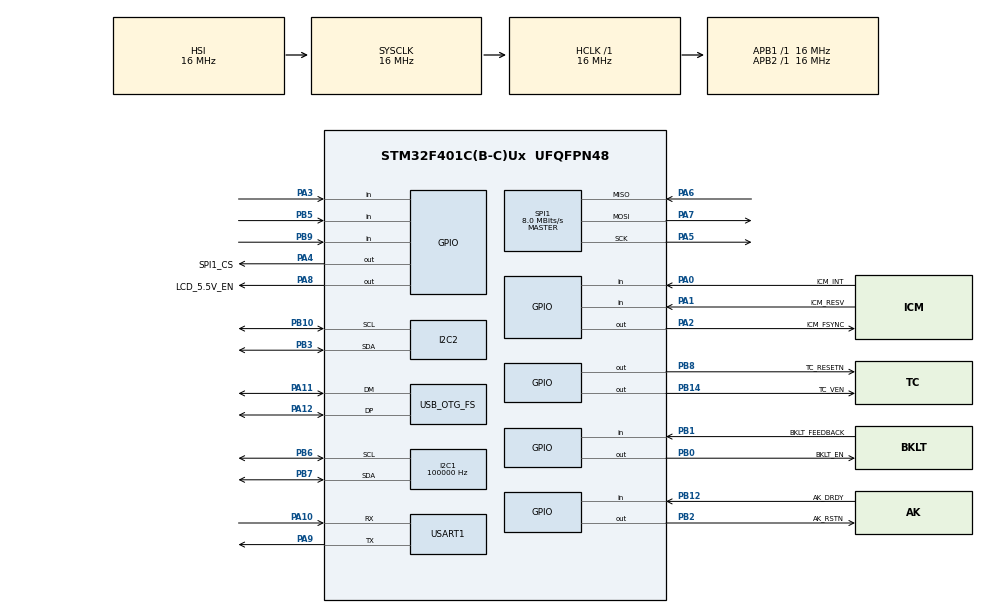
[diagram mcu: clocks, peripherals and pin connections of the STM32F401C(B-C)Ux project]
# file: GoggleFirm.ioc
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Mcu.Family=STM32F4
PA6.Mode=Full_Duplex_Master
USB_DEVICE.CLASS_NAME_FS=CUSTOM_HID
RCC.CortexFreq_Value=16000000
SPI1.VirtualType=VM_MASTER
PB10.Mode=I2C
PB14.GPIO_Label=TC_VEN
VP_USB_DEVICE_VS_USB_DEVICE_CUSTOM_HID_FS.Mode=CUSTOM_HID_FS
PA11.Mode=Device_Only
PB0.GPIO_Label=BKLT_EN
ProjectManager.StackSize=0x400
PA12.Signal=USB_OTG_FS_DP
PH0\ -\ OSC_IN.Signal=RCC_OSC_IN
I2C1.ClockSpeed=100000
PB0.PinState=GPIO_PIN_RESET
SPI1.Direction=SPI_DIRECTION_2LINES
PB6.Signal=I2C1_SCL
PB6.Mode=I2C
SPI1.CalculateBaudRate=8.0 MBits/s
RCC.AHBFreq_Value=16000000
RCC.HSE_VALUE=12000000
PB2.Signal=GPIO_Output
PB3.Mode=I2C
PB12.GPIO_Label=AK_DRDY
USB_DEVICE.USBD_SELF_POWERED=0
PA14.Mode=Serial_Wire
PB1.GPIO_Label=BKLT_FEEDBACK
PB8.PinState=GPIO_PIN_RESET
PB7.Signal=I2C1_SDA
PA8.Signal=GPIO_Output
Mcu.Package=UFQFPN48
PB9.Signal=GPIO_Input
PB1.Signal=GPIO_Input
PA6.Signal=SPI1_MISO
PA2.GPIO_ModeDefaultOutputPP=GPIO_MODE_OUTPUT_PP
NVIC.OTG_FS_IRQn=true\:0\:0\:false\:false\:true\:false\:true
PA2.GPIO_Label=ICM_FSYNC
PA10.Signal=USART1_RX
USB_OTG_FS.VirtualMode=Device_Only
PB8.GPIO_ModeDefaultOutputPP=GPIO_MODE_OUTPUT_PP
PB0.GPIO_ModeDefaultOutputPP=GPIO_MODE_OUTPUT_PP
USB_DEVICE.USBD_CUSTOMHID_OUTREPORT_BUF_SIZE=28
PB2.GPIO_ModeDefaultOutputPP=GPIO_MODE_OUTPUT_PP
PA4.GPIO_Label=SPI1_CS
PA3.Signal=GPIO_Input
PA5.Mode=Full_Duplex_Master
PA7.Mode=Full_Duplex_Master
PA10.Mode=Asynchronous
USB_DEVICE.USBD_CUSTOM_HID_REPORT_DESC_SIZE=34
USB_DEVICE.VirtualModeFS=Custom_Hid_FS
PH1\ -\ OSC_OUT.Mode=HSE-External-Oscillator
PA0-WKUP.GPIO_Label=ICM_INT
PA0-WKUP.Signal=GPIO_Input
PA13.Signal=SYS_JTMS-SWDIO
PB8.GPIO_Label=TC_RESETN
PA9.Mode=Asynchronous
PH0\ -\ OSC_IN.Mode=HSE-External-Oscillator
PA8.GPIO_Label=LCD_5.5V_EN
PB14.PinState=GPIO_PIN_SET
PA4.PinState=GPIO_PIN_SET
ProjectManager.TargetToolchain=STM32CubeIDE
PB14.GPIO_Speed=GPIO_SPEED_FREQ_LOW
I2C1.I2C_Mode=I2C_Standard
PA9.Signal=USART1_TX
RCC.LSE_VALUE=32768
PB14.GPIO_ModeDefaultOutputPP=GPIO_MODE_OUTPUT_PP
PA1.Signal=GPIO_Input
PB10.Signal=I2C2_SCL
PB14.Signal=GPIO_Output
PA5.Signal=SPI1_SCK
PH1\ -\ OSC_OUT.Signal=RCC_OSC_OUT
board=custom
RCC.VCOOutputFreq_Value=144000000
RCC.APB2Freq_Value=16000000
SPI1.Mode=SPI_MODE_MASTER
PA1.GPIO_Label=ICM_RESV
PA13.Mode=Serial_Wire
Mcu.Name=STM32F401C(B-C)Ux
PA2.Signal=GPIO_Output
RCC.48MHZClocksFreq_Value=48000000
PB3.Signal=I2C2_SDA
PA4.Signal=GPIO_Output
RCC.SYSCLKFreq_VALUE=16000000
PB5.Signal=GPIO_Input
PA12.Mode=Device_Only
USART1.VirtualMode=VM_ASYNC
PB7.Mode=I2C
PA11.Signal=USB_OTG_FS_DM
PA14.Signal=SYS_JTCK-SWCLK
PB2.GPIO_Label=AK_RSTN
ProjectManager.HeapSize=0x200
RCC.HSI_VALUE=16000000
RCC.PLLQ=3
NVIC.PriorityGroup=NVIC_PRIORITYGROUP_4
RCC.PLLM=6
RCC.PLLN=72
PB8.Signal=GPIO_Output
RCC.APB1Freq_Value=16000000
PB0.Signal=GPIO_Output
USB_DEVICE.VirtualMode=CustomHid
PB12.Signal=GPIO_Input
PA7.Signal=SPI1_MOSI

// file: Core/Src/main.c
/* USER CODE BEGIN Header */
/**
  ******************************************************************************
  * @file           : main.c
  * @brief          : Main program body
  ******************************************************************************
  * @attention
  *
  * <h2><center>&copy; Copyright (c) 2021 STMicroelectronics.
  * All rights reserved.</center></h2>
  *
  * This software component is licensed by ST under BSD 3-Clause license,
  * the "License"; You may not use this file except in compliance with the
  * License. You may obtain a copy of the License at:
  *                        opensource.org/licenses/BSD-3-Clause
  *
  ******************************************************************************
  */
/* USER CODE END Header */
#include "main.h"
#include "i2c.h"
#include "spi.h"
#include "usart.h"
#include "usb_device.h"
#include "gpio.h"

/* USER CODE BEGIN Includes */
#include "stdbool.h"
#include "hidfix.h"
#include "exmath.h"
/* USER CODE END Includes */

/* USER CODE BEGIN PD */
#define TC_ADDR 0x1E	//Toshiba TC358870XBG	I2C Address: 0x0F << 1
#define AK_ADDR 0x1A	//AsahiKASEI AK09915c	I2C Address: 0x0D << 1
//#define PROX_ADDR 0x90	//Proximity Sensor 	I2C Address: 0x48 << 1	//not really necessary since it's an LCD
/* USER CODE END PD */

/* USER CODE BEGIN PV */
uint8_t buffer[15] = {0};
static quat gQ_gyroFrame = {1,0,0,0};
static vec3 gV_world_down = {0,0,1};
static vec3 gV_world_north = {1,0,0};
/* USER CODE END PV */

void SystemClock_Config(void);
/* USER CODE BEGIN PFP */
extern USBD_HandleTypeDef hUsbDeviceFS;
/* USER CODE END PFP */

/* USER CODE BEGIN 0 */

/**
 * formats the register addresses and data how the Toshiba chip needs them
 * and then calls HAL_I2C_Master_Transmit()
 * TODO: optimize this better, possibly with premade arrays
 */
void TCFormatI2C(uint16_t regAddr, uint32_t data, uint8_t dsize)
{
	buffer[0] = (uint8_t)(regAddr >> 8);
	buffer[1] = (uint8_t)regAddr;
	buffer[2] = (uint8_t)data;
	buffer[3] = (uint8_t)(data >> 8);
	buffer[4] = (uint8_t)(data >> 16);
	buffer[5] = (uint8_t)(data >> 24);
	if ( HAL_I2C_Master_Transmit(&hi2c1, TC_ADDR, buffer, dsize+2, 10) != HAL_OK)
		Error_Handler();
	HAL_Delay(1);	//needs some delay to properly ingest data
}

/**
 * wrapper for reading a byte from the Toshiba chip over I2C
 */
uint8_t TCFormatReadI2C(uint16_t regAddr)
{
	buffer[0] = (uint8_t)(regAddr >> 8);
	buffer[1] = (uint8_t)regAddr;
	if ( HAL_I2C_Master_Transmit(&hi2c1, TC_ADDR, buffer, 2, 10) == HAL_OK)
		if( HAL_I2C_Master_Receive(&hi2c1, TC_ADDR, buffer, 1, 10) == HAL_OK)
			return buffer[0];
	Error_Handler();
	return 0x00;
}

struct Measure
{
	int16_t x;
	int16_t y;
	int16_t z;
};

//returns true if data is valid	//TODO: clean this up a bit
bool AKGetMeasurement(struct Measure* data)
{
	buffer[0] = 0x10;	//read data
	if ( HAL_I2C_Master_Transmit(&hi2c2, AK_ADDR, buffer, 1, 10) == HAL_OK)
	{
		if( HAL_I2C_Master_Receive(&hi2c2, AK_ADDR, buffer, 9, 10) == HAL_OK)
		{
			if ((buffer[0] & 1) && !(buffer[8] & 8))	//data ready and no overflow
			{
				//magnetometer axes (x, y, z) are (right, down, front)
				//SteamVR expects (right, up, back)
				//units are 0.15 uT
				data->y = (int16_t)(buffer[1] | buffer[2] << 8);
				data->z = (int16_t)(buffer[3] | buffer[4] << 8);
				data->x = (int16_t)(buffer[5] | buffer[6] << 8);
				return true;
			}
		}
	}
	return false;
}

bool ICMGetMeasurement(vec3* accelData, vec3* gyroData, int16_t* tempData)
{
	buffer[0] = 0xBB;	//read data
	HAL_GPIO_WritePin(GPIOA, GPIO_PIN_4, GPIO_PIN_RESET);
	HAL_Delay(1);
	if(HAL_SPI_TransmitReceive(&hspi1, buffer, buffer, 15, 10)!=HAL_OK)
		return false;
	HAL_GPIO_WritePin(GPIOA, GPIO_PIN_4, GPIO_PIN_SET);
	HAL_Delay(1);

	//accelerometer axes (x, y, z) are (right, down, back)
	//SteamVR expects (right, up, back)
	accelData->y = (int16_t)(buffer[ 1] << 8 | buffer[ 2]);
	accelData->z = (int16_t)(buffer[ 3] << 8 | buffer[ 4]);
	accelData->x = (int16_t)(buffer[ 5] << 8 | buffer[ 6]) * -1.0;
	*tempData    = (int16_t)(buffer[ 7] << 8 | buffer[ 8]);
	gyroData->y  = (int16_t)(buffer[ 9] << 8 | buffer[10]);
	gyroData->z  = (int16_t)(buffer[11] << 8 | buffer[12]);
	gyroData->x  = (int16_t)(buffer[14] << 8 | buffer[13]) * -1.0;

	return true;
}

union UsbBuffer
{
	float items[7];
	uint8_t bytes[28];
};

/* USER CODE END 0 */

int main(void)
{

  /* MCU Configuration--------------------------------------------------------*/

  /* Reset of all peripherals, Initializes the Flash interface and the Systick. */
  HAL_Init();

  /* Configure the system clock */
  SystemClock_Config();

  /* Initialize all configured peripherals */
  MX_GPIO_Init();
  MX_I2C1_Init();
  MX_USART1_UART_Init();
  MX_SPI1_Init();
  MX_I2C2_Init();
  MX_USB_DEVICE_Init();
  /* USER CODE BEGIN 2 */
  USBD_CUSTOM_HID_Init(&hUsbDeviceFS);
  //Currently unknown usage:
  //GPIOA, PIN 3
  //GPIOB, PINS 5, 9
  //HAL_GPIO_WritePin(GPIOB, GPIO_PIN_9, GPIO_PIN_SET);	//GPIO B9 hi prevents Toshiba from receiving
  //HAL_GPIO_WritePin(GPIOB, GPIO_PIN_5, GPIO_PIN_SET);	//GPIO B5 goes to light sensor, might be reset or input
  HAL_Delay(10);
/*
  //turn on LCD panel power (+/- 5.5V rail)
  //must come before bridge chip so bridge chip can configure it
  HAL_GPIO_WritePin(GPIOA, GPIO_PIN_8, GPIO_PIN_SET);
  HAL_Delay(10);

  //turn on bridge chip power rail
  HAL_GPIO_WritePin(GPIOB, GPIO_PIN_14, GPIO_PIN_SET);
  HAL_Delay(10);

  //disable bridge chip reset line
  HAL_GPIO_WritePin(GPIOB, GPIO_PIN_8, GPIO_PIN_SET);
  HAL_Delay(10);

  //start writing to bridge chip registers
  TCFormatI2C(0x0004, 0x0004, 2);
  TCFormatI2C(0x0002, 0x3F00, 2);
  TCFormatI2C(0x0002, 0x0000, 2);
  TCFormatI2C(0x0006, 0x0000, 2);
  TCFormatI2C(0x0016, 0x0F3F, 2);
  TCFormatI2C(0x8502, 0xFF, 1);
  TCFormatI2C(0x850B, 0xFF, 1);
  TCFormatI2C(0x0014, 0x0F3F, 2);
  TCFormatI2C(0x8512, 0xFE, 1);
  TCFormatI2C(0x851B, 0xFD, 1);
  TCFormatI2C(0x8410, 0x03, 1);
  TCFormatI2C(0x8413, 0x3F, 1);
  TCFormatI2C(0x8420, 0x06, 1);
  TCFormatI2C(0x84F0, 0x31, 1);
  TCFormatI2C(0x84F4, 0x01, 1);
  TCFormatI2C(0x8540, 0x12C0, 2);
  TCFormatI2C(0x8630, 0x00, 1);
  TCFormatI2C(0x8631, 0x0753, 2);
  TCFormatI2C(0x8670, 0x02, 1);
  TCFormatI2C(0x8A0C, 0x12C0, 2);
  TCFormatI2C(0x85E0, 0x01, 1);
  TCFormatI2C(0x85E3, 0x0100, 2);

  // EDID Data
  //edid needs to have a correct checksum or else it breaks the status register
  uint8_t edid[] = {0x8C, 0x00,	//edid address hardcoded as part of the array to make sending it easier
	0x00, 0xFF, 0xFF, 0xFF, 0xFF, 0xFF, 0xFF, 0x00, 0x4C, 0xAE, 0x19, 0x10, 0x1A, 0x46, 0xDA, 0x01,	//128 bytes edid
	0x23, 0x1B, 0x01, 0x03, 0x80, 0x00, 0x00, 0x78, 0x0A, 0x0D, 0xC9, 0xA0, 0x57, 0x47, 0x98, 0x27,
	0x12, 0x48, 0x4C, 0x00, 0x00, 0x00, 0x01, 0x01, 0x01, 0x01, 0x01, 0x01, 0x01, 0x01, 0x01, 0x01,
	0x01, 0x01, 0x01, 0x01, 0x01, 0x01, 0x02, 0x3A, 0x38, 0xC0, 0x40, 0x80, 0x16, 0x70, 0x0C, 0x28,
	0xE2, 0x00, 0xC0, 0x78, 0x00, 0x00, 0x00, 0x18, 0x02, 0x3A, 0x38, 0xC0, 0x40, 0x80, 0x16, 0x70,
	0x0C, 0x28, 0xE2, 0x00, 0xC0, 0x78, 0x00, 0x00, 0x00, 0x18, 0x00, 0x00, 0x00, 0xFC, 0x00, 0x57,
	0x56, 0x52, 0x31, 0x0A, 0x0A, 0x0A, 0x0A, 0x0A, 0x0A, 0x0A, 0x0A, 0x0A, 0x00, 0x00, 0x00, 0xFD,
	0x00, 0x14, 0x78, 0x01, 0xFF, 0x1D, 0x00, 0x0A, 0x20, 0x20, 0x20, 0x20, 0x20, 0x20, 0x01, 0x24,
	0x02, 0x03, 0x1A, 0x71, 0x47, 0xC6, 0x46, 0x46, 0x46, 0x46, 0x46, 0x46, 0x23, 0x09, 0x07, 0x01,	//128 bytes cea
	0x83, 0x01, 0x00, 0x00, 0x65, 0x03, 0x0C, 0x00, 0x10, 0x00, 0x02, 0x3A, 0x38, 0xC0, 0x40, 0x80,
	0x16, 0x70, 0x0C, 0x28, 0xE2, 0x00, 0xC0, 0x78, 0x00, 0x00, 0x00, 0x18, 0x02, 0x3A, 0x38, 0xC0,
	0x40, 0x80, 0x16, 0x70, 0x0C, 0x28, 0xE2, 0x00, 0xC0, 0x78, 0x00, 0x00, 0x00, 0x18, 0x02, 0x3A,
	0x38, 0xC0, 0x40, 0x80, 0x16, 0x70, 0x0C, 0x28, 0xE2, 0x00, 0xC0, 0x78, 0x00, 0x00, 0x00, 0x18,
	0x02, 0x3A, 0x38, 0xC0, 0x40, 0x80, 0x16, 0x70, 0x0C, 0x28, 0xE2, 0x00, 0xC0, 0x78, 0x00, 0x00,
	0x00, 0x18, 0x00, 0x00, 0x00, 0x00, 0x00, 0x00, 0x00, 0x00, 0x00, 0x00, 0x00, 0x00, 0x00, 0x00,
	0x00, 0x00, 0x00, 0x00, 0x00, 0x00, 0x00, 0x00, 0x00, 0x00, 0x00, 0x00, 0x00, 0x00, 0x00, 0x03};

  if ( HAL_I2C_Master_Transmit(&hi2c1, TC_ADDR, edid, sizeof(edid), 50) != HAL_OK)	//10ms isn't quite enough for 257 bytes, increased to 50ms
	  Error_Handler();

  HAL_Delay(1);
  TCFormatI2C(0x85EC, 0x01, 1);
  TCFormatI2C(0x8560, 0x24, 1);
  TCFormatI2C(0x8563, 0x11, 1);
  TCFormatI2C(0x8564, 0x0F, 1);
  TCFormatI2C(0x8543, 0x02, 1);
  TCFormatI2C(0x8544, 0x10, 1);
  TCFormatI2C(0x8600, 0x00, 1);
  TCFormatI2C(0x8602, 0xF3, 1);
  TCFormatI2C(0x8603, 0x02, 1);
  TCFormatI2C(0x8604, 0x0C, 1);
  TCFormatI2C(0x8606, 0x05, 1);
  TCFormatI2C(0x8607, 0x00, 1);
  TCFormatI2C(0x8652, 0x02, 1);
  TCFormatI2C(0x8671, 0x020C49BA, 4);
  TCFormatI2C(0x8675, 0x01E1B089, 4);
  TCFormatI2C(0x8680, 0x00, 1);
  TCFormatI2C(0x0016, 0x0F1F, 2);
  TCFormatI2C(0x0002, 0x0001, 2);
  TCFormatI2C(0x0002, 0x0000, 2);
  TCFormatI2C(0x0016, 0x0F3F, 2);
  TCFormatI2C(0x8502, 0xFF, 1);
  TCFormatI2C(0x850B, 0xFF, 1);
  TCFormatI2C(0x0014, 0x0F3F, 2);
  TCFormatI2C(0x0016, 0x0D3F, 2);
  TCFormatI2C(0x854A, 0x01, 1);
  TCFormatI2C(0x0002, 0x0000, 2);
  TCFormatI2C(0x0016, 0x0F3F, 2);
  TCFormatI2C(0x8502, 0xFF, 1);
  TCFormatI2C(0x850B, 0xFF, 1);
  TCFormatI2C(0x0014, 0x0F3F, 2);
*/

  //Initialising the imu components while we wait for hdmi to be ready

  //Mag: AsahiKASEI AK09915c (on I2C2)

  HAL_GPIO_WritePin(GPIOB, GPIO_PIN_2, GPIO_PIN_SET);
  HAL_Delay(1);
  //soft reset
  buffer[0] = 0x32;
  buffer[1] = 0x01;
  HAL_I2C_Master_Transmit(&hi2c2, AK_ADDR, buffer, 2, 100);
  HAL_Delay(1);

  //test read WhoAmI
  buffer[0] = 0x00;
  HAL_I2C_Master_Transmit(&hi2c2, AK_ADDR, buffer, 1, 10);
  HAL_I2C_Master_Receive(&hi2c2, AK_ADDR, buffer, 2, 10);

  //control settings
  buffer[0] = 0x30;
  buffer[1] = 0x20; //enable noise filter
  buffer[2] = 0x4A;	//low noise drive & continuous measurement 200Hz

  if ( HAL_I2C_Master_Transmit(&hi2c2, AK_ADDR, buffer, 3, 10) != HAL_OK)
	  Error_Handler();

  //Gryro/Accel: InvenSense ICM-20602 (on SPI1)

  //soft reset
  buffer[0] = 0x6B;	//write power management 1
  buffer[1] = 0x80;	//set reset bit
  HAL_GPIO_WritePin(GPIOA, GPIO_PIN_4, GPIO_PIN_RESET);
  HAL_Delay(1);
  if(HAL_SPI_TransmitReceive(&hspi1, buffer, buffer, 2, 10)!=HAL_OK)
	  Error_Handler();
  HAL_GPIO_WritePin(GPIOA, GPIO_PIN_4, GPIO_PIN_SET);
  HAL_Delay(1);

  //set sampling rate
  buffer[0] = 0x19;	//write sample rate divider
  buffer[1] = 0x04;	//200Hz
  buffer[2] = 0x06;	//unexplained bit, maxed gyro and temp filtering
  buffer[3] = 0x00;	//gyro scale +/- 250dps, filter bypass disabled
  buffer[4] = 0x00;	//accel scale +/- 2g
  buffer[5] = 0x36;	//32 accel sample averaging (in LP mode?), filter bypass disabled, max accel filtering
  buffer[6] = 0x70;	//128 gyro sample averaging (in LP mode?)
  HAL_GPIO_WritePin(GPIOA, GPIO_PIN_4, GPIO_PIN_RESET);
  HAL_Delay(1);
  if(HAL_SPI_TransmitReceive(&hspi1, buffer, buffer, 7, 10)!=HAL_OK)
	  Error_Handler();
  HAL_GPIO_WritePin(GPIOA, GPIO_PIN_4, GPIO_PIN_SET);
  HAL_Delay(1);

  //wake device
  buffer[0] = 0x6B;	//write power management 1
  buffer[1] = 0x01;	//wake device
  HAL_GPIO_WritePin(GPIOA, GPIO_PIN_4, GPIO_PIN_RESET);
  HAL_Delay(1);
  if(HAL_SPI_TransmitReceive(&hspi1, buffer, buffer, 2, 10)!=HAL_OK)
	  Error_Handler();
  HAL_GPIO_WritePin(GPIOA, GPIO_PIN_4, GPIO_PIN_SET);
  HAL_Delay(1);

  /*
  //poll for hdmi plugged in and ready
  while(TCFormatReadI2C(0x8520) != 0x9F)
	  HAL_Delay(500);	//takes about 1300 to 1400 ms for it to register if hdmi already plugged in, 0.5s delay is still fairly responsive

  TCFormatI2C(0x0004, 0x0C32, 2);
  TCFormatI2C(0x0002, 0x1200, 2);
  TCFormatI2C(0x0002, 0x0000, 2);
  TCFormatI2C(0x8A02, 0x42, 1);
  TCFormatI2C(0x0108, 0x00000001, 4);
  TCFormatI2C(0x010C, 0x00000001, 4);
  TCFormatI2C(0x02A0, 0x00000001, 4);
  TCFormatI2C(0x02AC, 0x000090B5, 4);
  TCFormatI2C(0x02A0, 0x00000003, 4);
  TCFormatI2C(0x0118, 0x00000014, 4);
  TCFormatI2C(0x0120, 0x00001388, 4);
  TCFormatI2C(0x0124, 0x00000000, 4);
  TCFormatI2C(0x0128, 0x00000101, 4);
  TCFormatI2C(0x0130, 0x00010000, 4);
  TCFormatI2C(0x0134, 0x00005000, 4);
  TCFormatI2C(0x0138, 0x00010000, 4);
  TCFormatI2C(0x013C, 0x00010000, 4);
  TCFormatI2C(0x0140, 0x00010000, 4);
  TCFormatI2C(0x0144, 0x00010000, 4);
  TCFormatI2C(0x0148, 0x00001000, 4);
  TCFormatI2C(0x014C, 0x00010000, 4);
  TCFormatI2C(0x0150, 0x00000160, 4);
  TCFormatI2C(0x0154, 0x00000001, 4);
  TCFormatI2C(0x0158, 0x000000C8, 4);
  TCFormatI2C(0x0168, 0x0000002A, 4);
  TCFormatI2C(0x0170, 0x000003A3, 4);
  TCFormatI2C(0x017C, 0x00000081, 4);
  TCFormatI2C(0x018C, 0x00000001, 4);
  TCFormatI2C(0x0190, 0x00000064, 4);
  TCFormatI2C(0x01A4, 0x00000000, 4);
  TCFormatI2C(0x01C0, 0x00000015, 4);
  TCFormatI2C(0x0214, 0x00000000, 4);
  TCFormatI2C(0x021C, 0x00000080, 4);
  TCFormatI2C(0x0224, 0x00000000, 4);
  TCFormatI2C(0x0254, 0x00000006, 4);
  TCFormatI2C(0x0258, 0x00200005, 4);
  TCFormatI2C(0x025C, 0x000B0005, 4);
  TCFormatI2C(0x0260, 0x000C0006, 4);
  TCFormatI2C(0x0264, 0x00003E80, 4);
  TCFormatI2C(0x0268, 0x0000000B, 4);
  TCFormatI2C(0x026C, 0x000B0008, 4);
  TCFormatI2C(0x0270, 0x00000020, 4);
  TCFormatI2C(0x0274, 0x0000001F, 4);
  TCFormatI2C(0x0278, 0x00060005, 4);
  TCFormatI2C(0x027C, 0x00000002, 4);
  TCFormatI2C(0x011C, 0x00000001, 4);
  TCFormatI2C(0x0500, 0x0000, 2);
  TCFormatI2C(0x0110, 0x00000016, 4);
  TCFormatI2C(0x0310, 0x00000016, 4);
  TCFormatI2C(0x0504, 0x0005, 2);
  TCFormatI2C(0x0504, 0x0011, 2);
  TCFormatI2C(0x0504, 0x0005, 2);
  TCFormatI2C(0x0504, 0x0029, 2);
  TCFormatI2C(0x5000, 0x0000, 2);
  TCFormatI2C(0x500C, 0x0000, 2);
  TCFormatI2C(0x500E, 0x0437, 2);
  TCFormatI2C(0x5080, 0x0000, 2);
  TCFormatI2C(0x508C, 0x0000, 2);
  TCFormatI2C(0x508E, 0x0437, 2);
  TCFormatI2C(0x7080, 0x0080, 2);
  TCFormatI2C(0x5008, 0x0CA8, 2);
  TCFormatI2C(0x5088, 0x0CA8, 2);
  TCFormatI2C(0x8502, 0xFF, 1);
  TCFormatI2C(0x8503, 0xFF, 1);
  TCFormatI2C(0x8504, 0xFF, 1);
  TCFormatI2C(0x8505, 0xFF, 1);
  TCFormatI2C(0x8506, 0xFF, 1);
  TCFormatI2C(0x850B, 0xFF, 1);
  TCFormatI2C(0x0014, 0x0F3F, 2);
  TCFormatI2C(0x0016, 0x0D3F, 2);
  TCFormatI2C(0x0004, 0x0C35, 2);
  TCFormatI2C(0x0006, 0x0000, 2);
  TCFormatI2C(0x0110, 0x00000006, 4);
  TCFormatI2C(0x0310, 0x00000006, 4);

  //clear interrupts
  TCFormatI2C(0x850B, 0xFF, 1);
  TCFormatI2C(0x0014, 0x0FBF, 2);

  //turn on panel backlight power
  HAL_GPIO_WritePin(GPIOB, GPIO_PIN_0, GPIO_PIN_SET);
  HAL_Delay(100);
  //PB1 seems to be an input related to back light power
  //  because using it as an output prevents backlight from turning on while driven low
*/

  HAL_Delay(5);	//wait for accel/gyro filter to be populated
  vec3 accelVec, gyroVec;
  struct Measure magMeas;
  int16_t tempData;
  union UsbBuffer buf;
  quat q;
  //vec3 axis = {0,1,0};
  //float angle = 0;

	vec3 v_acc_meas, v_mag_meas, v_meas_world_down, v_meas_world_north, v_cross;
	quat q_correct;
	float mag_g, angle;
	float heading, bank, attitude;

	//variables related to keeping running sum
	struct Measure magBuffer[256] = {{0,0,0}};
	int32_t magSumX = 0;
	int32_t magSumY = 0;
	int32_t magSumZ = 0;
	uint8_t sumIndex = 0;

  /* USER CODE END 2 */

  /* Infinite loop */
  while (1)
  {

    /* USER CODE BEGIN 3 */
//	HAL_Delay(5);

	//keep a running sum to smooth magnetometer readings b/c AK09915 has ~10 bits worth of data for Earth's magnetic field strength
	if(AKGetMeasurement(&magMeas) == true)
	{
		magSumX -= magBuffer[sumIndex].x;
		magSumY -= magBuffer[sumIndex].y;
		magSumZ -= magBuffer[sumIndex].z;

		magBuffer[sumIndex++] = magMeas;

		magSumX += magMeas.x;
		magSumY += magMeas.y;
		magSumZ += magMeas.z;

		v_mag_meas.x = magSumX;
		v_mag_meas.y = magSumY;
		v_mag_meas.z = magSumZ;
	}
	else
		while(1);

	if(ICMGetMeasurement(&accelVec, &gyroVec, &tempData) != true)
		while(1);

	if(v3normalize( &v_acc_meas, &accelVec) == 0)
		v_acc_meas = gV_world_down;

	if(v3normalize( &v_mag_meas, &v_mag_meas) == 0)
		v_mag_meas = gV_world_north;

	//v3normalize( &v_gyro_meas, &gyroVec);

//  ---------------   measurement taken,normalized and stored in vectors: acc, mag, v_mag_meas, v_acc_meas  --------------------
#define INTEGRATING
#ifdef INTEGRATING

	// used when we incrementally maintain the sensor body attitude in the loop and apply correction to the last measured attitude each pass
	//                                 out
	Quat_RotateVec3( &gQ_gyroFrame, &v_meas_world_down, &v_acc_meas);
#else
 // 	this is to directly calculate the attitude of the body once per loop -- Comment out if incremental correction is wanted.  --
	Quat_Set( &gQ_gyroFrame, 1.0f, 0.0f, 0.0f, 0.0f );	// North and Level reference attitude --
	v_meas_world_down.x = v_acc_meas.x;
	v_meas_world_down.y = v_acc_meas.y;
	v_meas_world_down.z = v_acc_meas.z;

	v_meas_world_north.x = v_mag_meas.x;
	v_meas_world_north.y = v_mag_meas.y;
	v_meas_world_north.z = v_mag_meas.z;
#endif
	//      v_out   ,v_in1             , vin_2
	v3cross(&v_cross,&v_meas_world_down, &gV_world_down);	// create the 90 deg vector to rotate around from the measured G vector and the world view G vector

	mag_g =  v3normalize(&v_cross,&v_cross); // The magnitude can not be used as the angle to rotate-- it can only provides  0-90 degrees, not 180

	// calculate the angle to rotate, this gives the 0-180 degrees we need
	angle = fabs( clamped_acos( v3dot( &v_meas_world_down, &gV_world_down) ) ); // Angles are always positive since the rotation angle flips appropriately.

//	if(angle > 0.001)
//		angle = 0.001;
//	angle = 0;

	// With the angle to rotate and the axis to rotate around, form a rotation quaternion (q_correct) - Then apply that to the quaternion representing the
	// the sensor body( Q_gyroFrame).

	Quat_SetAxisAndAngle( &q_correct, &v_cross, angle);
	Quat_Multiply( &gQ_gyroFrame, &q_correct, &gQ_gyroFrame );

	// now the same for the mag ---------------------------------------------------
#define do_mag
#ifdef do_mag
					// in 			// out 				/in
	Quat_RotateVec3( &gQ_gyroFrame, &v_meas_world_north, &v_mag_meas);
	v_meas_world_north.z = 0.0f;	// take Z component out -- flatten to x & y only because of inclination ??
	v3normalize(&v_meas_world_north,&v_meas_world_north);

	v3cross(&v_cross,&v_meas_world_north, &gV_world_north);
	v3normalize(&v_cross,&v_cross);

	angle = fabs( clamped_acos( v3dot( &v_meas_world_north, &gV_world_north) ) ); // Angles are always positive since the rotation angle flips appropriately.

//	if(angle > 0.001)
//		angle = 0.001;
//	angle = 0;
	// Get the quat that rotates our sensor toward the world vector by the specified amount
	Quat_SetAxisAndAngle( &q_correct, &v_cross, angle);
	Quat_Multiply( &gQ_gyroFrame, &q_correct, &gQ_gyroFrame );
#endif
	Quat_ToEuler( &gQ_gyroFrame, &heading, &bank, &attitude);

	// Send HID report
	buf.items[0] = gQ_gyroFrame.w;	//w
	buf.items[1] = gQ_gyroFrame.y;	//x
	buf.items[2] = -gQ_gyroFrame.z;	//y
	buf.items[3] = -gQ_gyroFrame.x;	//z
	buf.items[4] = 0;	//vx
	buf.items[5] = 0;	//vy
	buf.items[6] = 0;	//vz

	USBD_CUSTOM_HID_SendReport(&hUsbDeviceFS, buf.bytes, sizeof(buf));

  }
  /* USER CODE END 3 */
}

void SystemClock_Config(void)
{
  RCC_OscInitTypeDef RCC_OscInitStruct = {0};
  RCC_ClkInitTypeDef RCC_ClkInitStruct = {0};

  /** Configure the main internal regulator output voltage
  */
  __HAL_RCC_PWR_CLK_ENABLE();
  __HAL_PWR_VOLTAGESCALING_CONFIG(PWR_REGULATOR_VOLTAGE_SCALE2);
  /** Initializes the RCC Oscillators according to the specified parameters
  * in the RCC_OscInitTypeDef structure.
  */
  RCC_OscInitStruct.OscillatorType = RCC_OSCILLATORTYPE_HSI|RCC_OSCILLATORTYPE_HSE;
  RCC_OscInitStruct.HSEState = RCC_HSE_ON;
  RCC_OscInitStruct.HSIState = RCC_HSI_ON;
  RCC_OscInitStruct.HSICalibrationValue = RCC_HSICALIBRATION_DEFAULT;
  RCC_OscInitStruct.PLL.PLLState = RCC_PLL_ON;
  RCC_OscInitStruct.PLL.PLLSource = RCC_PLLSOURCE_HSE;
  RCC_OscInitStruct.PLL.PLLM = 6;
  RCC_OscInitStruct.PLL.PLLN = 72;
  RCC_OscInitStruct.PLL.PLLP = RCC_PLLP_DIV2;
  RCC_OscInitStruct.PLL.PLLQ = 3;
  if (HAL_RCC_OscConfig(&RCC_OscInitStruct) != HAL_OK)
  {
    Error_Handler();
  }
  /** Initializes the CPU, AHB and APB buses clocks
  */
  RCC_ClkInitStruct.ClockType = RCC_CLOCKTYPE_HCLK|RCC_CLOCKTYPE_SYSCLK
                              |RCC_CLOCKTYPE_PCLK1|RCC_CLOCKTYPE_PCLK2;
  RCC_ClkInitStruct.SYSCLKSource = RCC_SYSCLKSOURCE_HSI;
  RCC_ClkInitStruct.AHBCLKDivider = RCC_SYSCLK_DIV1;
  RCC_ClkInitStruct.APB1CLKDivider = RCC_HCLK_DIV1;
  RCC_ClkInitStruct.APB2CLKDivider = RCC_HCLK_DIV1;

  if (HAL_RCC_ClockConfig(&RCC_ClkInitStruct, FLASH_LATENCY_0) != HAL_OK)
  {
    Error_Handler();
  }
}

void Error_Handler(void)
{
  __disable_irq();
  while (1)
  {
  }
}

/************************ (C) COPYRIGHT STMicroelectronics *****END OF FILE****/
